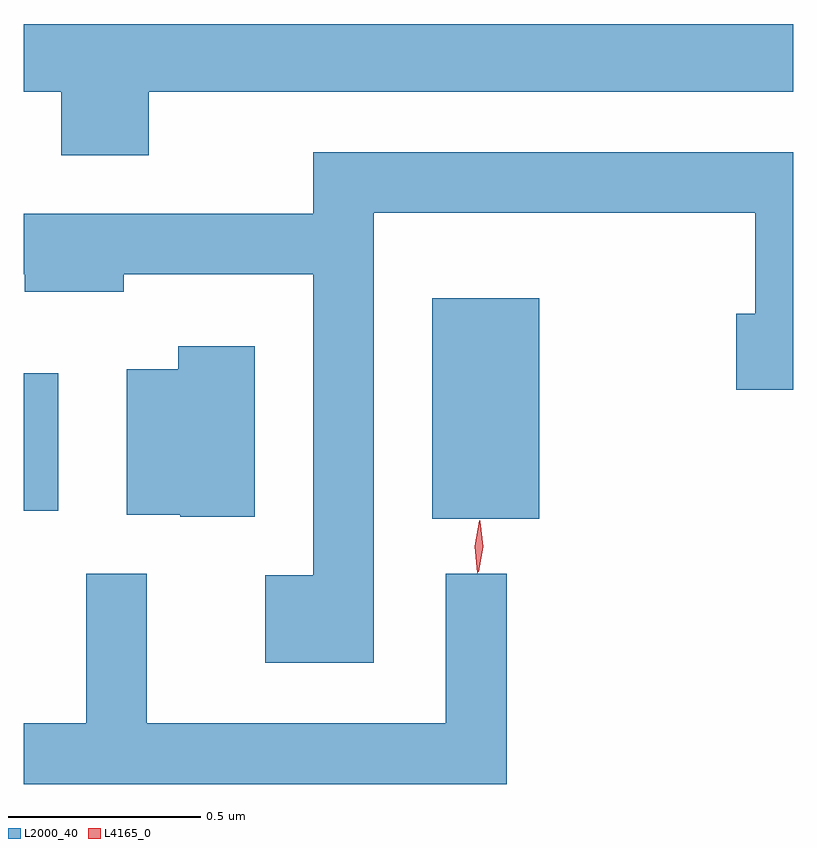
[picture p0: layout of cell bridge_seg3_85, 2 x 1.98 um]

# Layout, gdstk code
import gdstk
lib = gdstk.Library(unit=1e-6, precision=1e-09)
def R(c, l, rs):  # rectangles x0, y0, x1, y1
    for r in rs: c.add(gdstk.rectangle(r[:2], r[2:], *l))
def P(c, l, *ps):  # polygons
    for p in ps: c.add(gdstk.Polygon(p, *l))
L2000_40 = (2000, 40)
L4165_0 = (4165, 0)

bridge_seg3_85 = lib.new_cell('bridge_seg3_85')
R(bridge_seg3_85, L2000_40, [(1125.416,1204.826,1125.694,1205.399), (1124.354,1204.846,1124.444,1205.204)])
P(bridge_seg3_85, L2000_40, [(1124.679,1205.936),(1126.354,1205.936),(1126.354,1206.112),(1124.354,1206.112),(1124.354,1205.936),(1124.451,1205.936),(1124.451,1205.771),(1124.679,1205.771)],
  [(1125.264,1205.621),(1126.256,1205.621),(1126.256,1205.359),(1126.206,1205.359),(1126.206,1205.161),(1126.354,1205.161),(1126.354,1205.779),(1125.106,1205.779),(1125.106,1205.619),(1124.354,1205.619),(1124.354,1205.461),(1124.356,1205.461),(1124.356,1205.416),(1124.614,1205.416),(1124.614,1205.461),(1125.106,1205.461),(1125.106,1204.679),(1124.981,1204.679),(1124.981,1204.451),(1125.264,1204.451)],
  [(1124.954,1205.274),(1124.756,1205.274),(1124.756,1205.214),(1124.621,1205.214),(1124.621,1204.836),(1124.76,1204.836),(1124.76,1204.831),(1124.954,1204.831)],
  [(1125.609,1204.683),(1125.451,1204.683),(1125.451,1204.294),(1124.674,1204.294),(1124.674,1204.683),(1124.516,1204.683),(1124.516,1204.294),(1124.354,1204.294),(1124.354,1204.136),(1125.609,1204.136)])
P(bridge_seg3_85, L4165_0, [(1125.533,1204.684),(1125.533,1204.685),(1125.526,1204.754),(1125.538,1204.821),(1125.539,1204.822),(1125.539,1204.821),(1125.546,1204.753),(1125.534,1204.685)],
  [(1125.535,1204.688),(1125.528,1204.754),(1125.54,1204.819),(1125.54,1204.82),(1125.541,1204.819),(1125.548,1204.753),(1125.536,1204.688),(1125.536,1204.688)])

lib.write_gds('bridge_seg3_85.gds')
